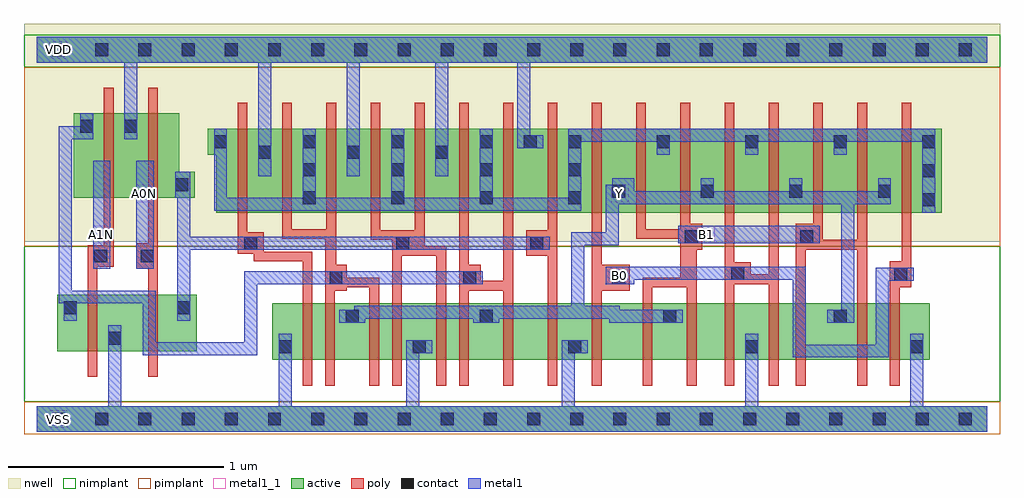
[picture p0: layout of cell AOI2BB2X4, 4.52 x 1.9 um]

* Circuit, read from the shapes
.subckt AOI2BB2X4 A0N A1N B0 B1 VDD VSS Y
M1 VSS A1N n1 VSS nfet w=0.26u l=0.045u
M2 n2 A0N VSS VSS nfet w=0.26u l=0.045u
M3 n3 n2 VSS VSS nfet w=0.26u l=0.045u
M4 Y n1 n3 VSS nfet w=0.26u l=0.045u
M5 n4 n1 Y VSS nfet w=0.26u l=0.045u
M6 VSS n2 n4 VSS nfet w=0.26u l=0.045u
M7 n5 n2 VSS VSS nfet w=0.26u l=0.045u
M8 Y n1 n5 VSS nfet w=0.26u l=0.045u
M9 n6 n1 Y VSS nfet w=0.26u l=0.045u
M10 VSS n2 n6 VSS nfet w=0.26u l=0.045u
M11 n7 B0 VSS VSS nfet w=0.26u l=0.045u
M12 Y B1 n7 VSS nfet w=0.26u l=0.045u
M13 n8 B1 Y VSS nfet w=0.26u l=0.045u
M14 VSS B0 n8 VSS nfet w=0.26u l=0.045u
M15 n9 B0 VSS VSS nfet w=0.26u l=0.045u
M16 Y B1 n9 VSS nfet w=0.26u l=0.045u
M17 n10 B1 Y VSS nfet w=0.26u l=0.045u
M18 VSS B0 n10 VSS nfet w=0.26u l=0.045u
M19 VDD A1N n1 VDD pfet w=0.39u l=0.045u
M20 n2 A0N VDD VDD pfet w=0.39u l=0.045u
M21 VDD n2 n11 VDD pfet w=0.39u l=0.045u m=4
M22 n11 n1 VDD VDD pfet w=0.39u l=0.045u m=4
M23 Y B0 n11 VDD pfet w=0.39u l=0.045u m=4
M24 n11 B1 Y VDD pfet w=0.39u l=0.045u m=4
.ends

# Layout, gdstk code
import gdstk
lib = gdstk.Library(unit=1e-6, precision=5e-10)
def R(c, l, rs):  # rectangles x0, y0, x1, y1
    for r in rs: c.add(gdstk.rectangle(r[:2], r[2:], *l))
def A(c, l, x, y, w, h, nx, ny, dx, dy):  # array of equal rectangles
    R(c, l, [(x+i*dx, y+j*dy, x+i*dx+w, y+j*dy+h) for i in range(nx) for j in range(ny)])
def P(c, l, *ps):  # polygons
    for p in ps: c.add(gdstk.Polygon(p, *l))
active = (1, 0)
nwell = (2, 0)
poly = (3, 0)
nimplant = (4, 0)
pimplant = (5, 0)
contact = (6, 0)
metal1 = (7, 0)
metal1_1 = (7, 1)

aoi2bb2x4 = lib.new_cell('AOI2BB2X4')
R(aoi2bb2x4, active, [(0,-0.06,4.4,0.06), (1.09,0.275,4.135,0.535), (0.095,0.315,0.74,0.575), (0,1.65,4.4,1.77)])
P(aoi2bb2x4, active, [(0.17,1.415),(0.66,1.415),(0.66,1.145),(0.73,1.145),(0.73,1.025),(0.17,1.025)],
  [(0.79,1.345),(4.19,1.345),(4.19,0.955),(0.83,0.955),(0.83,1.225),(0.79,1.225)])
R(aoi2bb2x4, nwell, [(-0.06,0.82,4.46,1.83)])
P(aoi2bb2x4, poly, [(0.31,1.535),(0.355,1.535),(0.355,0.705),(0.28,0.705),(0.28,0.195),(0.235,0.195),(0.235,0.805),(0.31,0.805)],
  [(0.515,1.535),(0.56,1.535),(0.56,0.195),(0.515,0.195),(0.515,0.695),(0.46,0.695),(0.46,0.815),(0.515,0.815)],
  [(0.93,1.465),(0.975,1.465),(0.975,0.865),(1.05,0.865),(1.05,0.775),(1.275,0.775),(1.275,0.155),(1.23,0.155),(1.23,0.73),(1.005,0.73),(1.005,0.765),(0.93,0.765)],
  [(1.135,1.465),(1.18,1.465),(1.18,0.88),(1.34,0.88),(1.34,1.465),(1.385,1.465),(1.385,0.715),(1.435,0.715),(1.435,0.655),(1.585,0.655),(1.585,0.155),(1.54,0.155),(1.54,0.61),(1.435,0.61),(1.435,0.595),(1.38,0.595),(1.38,0.155),(1.335,0.155),(1.335,0.835),(1.135,0.835)],
  [(1.545,1.465),(1.59,1.465),(1.59,0.875),(1.75,0.875),(1.75,1.465),(1.795,1.465),(1.795,0.8),(1.895,0.8),(1.895,0.155),(1.85,0.155),(1.85,0.755),(1.69,0.755),(1.69,0.155),(1.645,0.155),(1.645,0.83),(1.545,0.83)],
  [(1.955,1.465),(2,1.465),(2,0.715),(2.055,0.715),(2.055,0.64),(2.16,0.64),(2.16,1.465),(2.205,1.465),(2.205,0.155),(2.16,0.155),(2.16,0.595),(2,0.595),(2,0.155),(1.955,0.155)],
  [(2.365,1.465),(2.41,1.465),(2.41,0.155),(2.365,0.155),(2.365,0.755),(2.265,0.755),(2.265,0.875),(2.365,0.875)],
  [(2.57,1.465),(2.615,1.465),(2.615,0.715),(2.745,0.715),(2.745,0.595),(2.615,0.595),(2.615,0.155),(2.57,0.155)],
  [(2.775,1.465),(2.82,1.465),(2.82,0.88),(2.98,0.88),(2.98,1.465),(3.025,1.465),(3.025,0.905),(3.08,0.905),(3.08,0.785),(3.055,0.785),(3.055,0.155),(3.01,0.155),(3.01,0.61),(2.85,0.61),(2.85,0.155),(2.805,0.155),(2.805,0.655),(2.98,0.655),(2.98,0.835),(2.775,0.835)],
  [(3.185,1.465),(3.23,1.465),(3.23,0.725),(3.305,0.725),(3.305,0.67),(3.39,0.67),(3.39,1.465),(3.435,1.465),(3.435,0.155),(3.39,0.155),(3.39,0.625),(3.23,0.625),(3.23,0.155),(3.185,0.155)],
  [(3.595,1.465),(3.64,1.465),(3.64,0.83),(3.8,0.83),(3.8,1.465),(3.845,1.465),(3.845,0.155),(3.8,0.155),(3.8,0.785),(3.56,0.785),(3.56,0.155),(3.515,0.155),(3.515,0.905),(3.595,0.905)],
  [(4.005,1.465),(4.05,1.465),(4.05,0.61),(3.995,0.61),(3.995,0.155),(3.95,0.155),(3.95,0.73),(4.005,0.73)])
R(aoi2bb2x4, nimplant, [(-0.06,0.08,4.46,0.8), (-0.06,1.63,4.46,1.78)])
R(aoi2bb2x4, pimplant, [(-0.06,-0.07,4.46,0.08), (-0.06,0.8,4.46,1.63)])
A(aoi2bb2x4, contact, 0.07, -0.03, 0.06, 0.06, 22, 2, 0.2, 1.71)
A(aoi2bb2x4, contact, 1.23, 0.995, 0.06, 0.06, 4, 2, 0.41, 0.13)
A(aoi2bb2x4, contact, 2.665, 1.025, 0.06, 0.06, 4, 1, 0.41, 0)
A(aoi2bb2x4, contact, 1.025, 1.205, 0.06, 0.06, 3, 1, 0.41, 0)
A(aoi2bb2x4, contact, 0.82, 1.255, 0.06, 0.06, 4, 1, 0.41, 0)
A(aoi2bb2x4, contact, 2.46, 1.255, 0.06, 0.06, 5, 1, 0.41, 0)
R(aoi2bb2x4, contact, [(1.12,0.305,1.18,0.365), (1.74,0.305,1.8,0.365), (2.46,0.305,2.52,0.365), (3.28,0.305,3.34,0.365), (4.045,0.305,4.105,0.365), (0.33,0.345,0.39,0.405), (1.43,0.445,1.49,0.505), (2.05,0.445,2.11,0.505), (2.9,0.445,2.96,0.505), (3.69,0.445,3.75,0.505), (0.125,0.485,0.185,0.545), (0.65,0.485,0.71,0.545), (1.355,0.625,1.415,0.685), (1.975,0.625,2.035,0.685), (2.665,0.625,2.725,0.685), (3.97,0.64,4.03,0.7), (3.215,0.645,3.275,0.705), (0.265,0.725,0.325,0.785), (0.48,0.725,0.54,0.785), (0.96,0.785,1.02,0.845), (1.665,0.785,1.725,0.845), (2.285,0.785,2.345,0.845), (3,0.815,3.06,0.875), (3.535,0.815,3.595,0.875), (4.1,0.985,4.16,1.045), (0.64,1.055,0.7,1.115), (4.1,1.12,4.16,1.18), (2.255,1.255,2.315,1.315), (0.2,1.325,0.26,1.385), (0.405,1.325,0.465,1.385)])
R(aoi2bb2x4, metal1, [(0.26,0.695,0.34,1.195), (0.46,0.695,0.54,1.195), (2.97,0.815,3.625,0.895)])
P(aoi2bb2x4, metal1, [(0,1.77),(4.4,1.77),(4.4,1.65),(2.285,1.65),(2.285,1.315),(2.345,1.315),(2.345,1.255),(2.225,1.255),(2.225,1.65),(1.905,1.65),(1.905,1.125),(1.845,1.125),(1.845,1.65),(1.495,1.65),(1.495,1.125),(1.435,1.125),(1.435,1.65),(1.085,1.65),(1.085,1.125),(1.025,1.125),(1.025,1.65),(0.465,1.65),(0.465,1.295),(0.405,1.295),(0.405,1.65),(0,1.65)],
  [(0.2,1.415),(0.26,1.415),(0.26,1.295),(0.16,1.295),(0.16,0.595),(0.55,0.595),(0.55,0.355),(0.96,0.355),(0.96,0.685),(2.065,0.685),(2.065,0.625),(1.02,0.625),(1.02,0.295),(0.49,0.295),(0.49,0.535),(0.185,0.535),(0.185,0.455),(0.125,0.455),(0.125,0.535),(0.1,0.535),(0.1,1.355),(0.2,1.355)],
  [(0.82,1.345),(0.88,1.345),(0.88,1.025),(1.23,1.025),(1.23,1.345),(1.29,1.345),(1.29,1.025),(1.64,1.025),(1.64,1.345),(1.7,1.345),(1.7,1.025),(2.05,1.025),(2.05,1.345),(2.11,1.345),(2.11,1.025),(2.46,1.025),(2.46,1.345),(4.16,1.345),(4.16,0.955),(4.1,0.955),(4.1,1.285),(3.75,1.285),(3.75,1.225),(3.69,1.225),(3.69,1.285),(3.34,1.285),(3.34,1.225),(3.28,1.225),(3.28,1.285),(2.93,1.285),(2.93,1.225),(2.87,1.225),(2.87,1.285),(2.52,1.285),(2.52,0.965),(0.82,0.965)],
  [(0.64,1.145),(0.71,1.145),(0.71,0.845),(2.375,0.845),(2.375,0.785),(0.71,0.785),(0.71,0.455),(0.65,0.455),(0.65,1.025),(0.64,1.025)],
  [(2.665,1.115),(2.765,1.115),(2.765,1.055),(3.075,1.055),(3.075,1.115),(3.135,1.115),(3.135,1.055),(3.485,1.055),(3.485,1.115),(3.545,1.115),(3.545,1.055),(3.895,1.055),(3.895,1.115),(3.955,1.115),(3.955,0.995),(3.785,0.995),(3.785,0.445),(3.66,0.445),(3.66,0.505),(3.725,0.505),(3.725,0.995),(2.695,0.995),(2.695,0.805),(2.535,0.805),(2.535,0.525),(2.7,0.525),(2.7,0.505),(2.99,0.505),(2.99,0.445),(2.65,0.445),(2.65,0.465),(2.14,0.465),(2.14,0.445),(2.02,0.445),(2.02,0.465),(1.52,0.465),(1.52,0.445),(1.4,0.445),(1.4,0.505),(1.47,0.505),(1.47,0.525),(2.475,0.525),(2.475,0.865),(2.635,0.865),(2.635,1.085),(2.665,1.085)],
  [(0.33,0.435),(0.39,0.435),(0.39,0.06),(1.12,0.06),(1.12,0.395),(1.18,0.395),(1.18,0.06),(1.71,0.06),(1.71,0.365),(1.83,0.365),(1.83,0.305),(1.77,0.305),(1.77,0.06),(2.43,0.06),(2.43,0.365),(2.55,0.365),(2.55,0.305),(2.49,0.305),(2.49,0.06),(3.28,0.06),(3.28,0.395),(3.34,0.395),(3.34,0.06),(4.045,0.06),(4.045,0.395),(4.105,0.395),(4.105,0.06),(4.4,0.06),(4.4,-0.06),(0,-0.06),(0,0.06),(0.33,0.06)],
  [(2.635,0.705),(3.56,0.705),(3.56,0.345),(3.885,0.345),(3.885,0.7),(4.06,0.7),(4.06,0.64),(3.945,0.64),(3.945,0.285),(3.5,0.285),(3.5,0.645),(2.765,0.645),(2.765,0.625),(2.635,0.625)])
R(aoi2bb2x4, metal1_1, [(0.06,-0.04,0.14,0.04), (2.66,0.625,2.74,0.705), (0.26,0.815,0.34,0.895), (3.06,0.815,3.14,0.895), (0.46,1.005,0.54,1.085), (2.66,1.005,2.74,1.085), (0.06,1.67,0.14,1.75)])
aoi2bb2x4.add(gdstk.Label('Y', (2.7,1.045), layer=7, texttype=1))
aoi2bb2x4.add(gdstk.Label('B1', (3.1,0.855), layer=7, texttype=1))
aoi2bb2x4.add(gdstk.Label('B0', (2.7,0.665), layer=7, texttype=1))
aoi2bb2x4.add(gdstk.Label('A0N', (0.5,1.045), layer=7, texttype=1))
aoi2bb2x4.add(gdstk.Label('A1N', (0.3,0.855), layer=7, texttype=1))
aoi2bb2x4.add(gdstk.Label('VDD', (0.1,1.71), layer=7, texttype=1))
aoi2bb2x4.add(gdstk.Label('VSS', (0.1,0), layer=7, texttype=1))
aoi2bb2x4.add(gdstk.Label('AOI2BB2X4', (0,0), layer=63, texttype=0))

lib.write_gds('AOI2BB2X4.gds')
